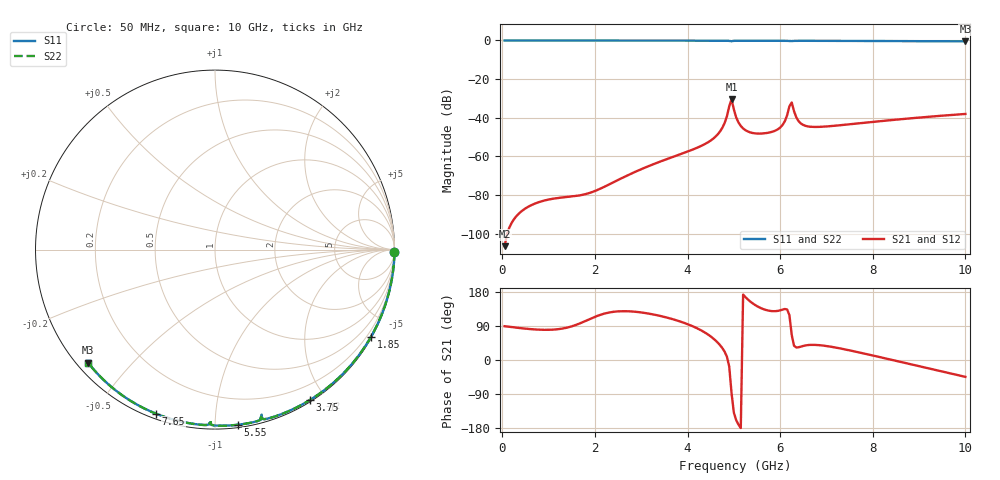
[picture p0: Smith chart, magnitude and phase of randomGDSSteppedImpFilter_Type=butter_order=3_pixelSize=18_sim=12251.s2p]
! freq	dB(S11)	phase(S11)	dB(S12)	phase(S12)
!  dB(S21)	phase(S21)	dB(S22)	phase(S22)
!S-par simulation data
#  GHz  S  DB  R 50
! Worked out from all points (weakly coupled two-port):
!   200 points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, 50 MHz to 10 GHz, reference 50 ohm
!   highest |S21| = -30.44 dB at 4.95 GHz (marker M1); lowest = -106.4 dB at 50 MHz (marker M2)
!   lowest |S11| = -0.5 dB at 10 GHz (marker M3), VSWR 36.92, Z = 1.55 - j19 ohm
!   |S11| at or under -10 dB: nowhere
!   |S22| runs from -0.5 to 0.0 dB; largest |S21 - S12| = 0
!   S11 on the Smith chart (normalised r, x): 50 MHz: open; 1.85 GHz: 0.03, -3.84; 3.75 GHz: 0.02, -1.82; 5.55 GHz: 0.02, -1.14; 7.65 GHz: 0.02, -0.70; 10 GHz: 0.03, -0.38
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0.05  -0.00 -0.8  -106.39 89.2  -106.39 89.2  -0.00 -0.8
1.75  -0.04 -27.6  -79.74 100.5  -79.74 100.5  -0.04 -27.6
1.85  -0.04 -29.2  -79.11 106.0  -79.11 106.0  -0.04 -29.2
3.4  -0.07 -52.6  -62.73 116.6  -62.73 116.6  -0.07 -52.6
3.75  -0.08 -57.7  -59.65 105.2  -59.65 105.2  -0.08 -57.7
4.3  -0.09 -65.6  -54.49 77.8  -54.49 77.8  -0.09 -65.6
4.6  -0.10 -69.9  -49.83 52.1  -49.83 52.1  -0.10 -69.9
4.8  -0.12 -72.9  -42.76 22.2  -42.76 22.2  -0.12 -73.0
4.95  -0.40 -74.2  -30.44 -86.8  -30.44 -86.8  -0.40 -74.2
5.05  -0.15 -75.4  -39.77 -158.5  -39.77 -158.5  -0.15 -75.4
5.25  -0.13 -78.5  -46.40 166.0  -46.40 166.0  -0.13 -78.5
5.55  -0.14 -82.6  -48.17 138.9  -48.17 138.9  -0.14 -82.6
6  -0.16 -88.8  -45.06 131.1  -45.06 131.1  -0.16 -88.8
6.1  -0.18 -90.3  -41.82 134.6  -41.82 134.6  -0.18 -90.3
6.2  -0.29 -91.9  -34.04 118.3  -34.04 118.3  -0.28 -91.8
6.25  -0.34 -91.4  -32.09 66.1  -32.09 66.1  -0.34 -91.4
6.35  -0.19 -92.8  -39.84 32.9  -39.84 32.9  -0.19 -92.8
6.4  -0.18 -93.5  -41.80 33.6  -41.80 33.6  -0.18 -93.5
6.7  -0.19 -97.6  -44.69 39.9  -44.69 39.9  -0.19 -97.6
7.65  -0.25 -109.7  -42.98 21.5  -42.98 21.5  -0.25 -109.7
8.35  -0.30 -118.3  -41.30 2.1  -41.30 2.1  -0.30 -118.3
10  -0.47 -138.3  -38.00 -44.5  -38.00 -44.5  -0.47 -138.3
